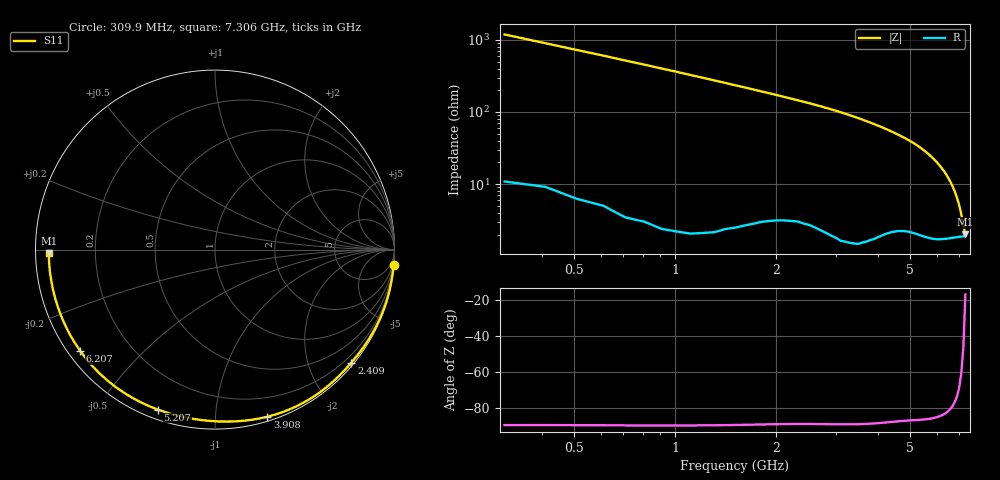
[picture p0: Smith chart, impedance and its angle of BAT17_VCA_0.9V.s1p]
! Infineon Technologies  Discrete & RF Semiconductors
! BAT17
! VCA = 0.9 V
! One-Port S-Parameters
# Hz  S  MA  R  50
!f  S11
!Hz  Mag  Ang
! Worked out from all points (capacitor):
!   71 points, 309.9 MHz to 7.306 GHz, reference 50 ohm
!   read as one part to ground: C = 432 fF near 309.9 MHz
!   lowest |Z| = 2.01 ohm at 7.306 GHz (marker M1)
!   S11 on the Smith chart (normalised r, x): 309.9 MHz: 0, -24; 2.409 GHz: 0.06, -2.77; 3.908 GHz: 0.03, -1.36; 5.207 GHz: 0.04, -0.70; 6.207 GHz: 0.03, -0.33; 7.306 GHz: 0.04, -0.01
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3.0985e8  0.9992 -4.8
8.096e8  0.9986 -12.6
1.2094e9  0.9977 -19.1
1.6092e9  0.9947 -25.7
2.10895e9  0.9891 -34.3
2.4088e9  0.9869 -39.7
2.70865e9  0.9865 -45.2
3.0085e9  0.9865 -51.3
3.2084e9  0.9862 -55.7
3.4083e9  0.9849 -60.3
3.6082e9  0.9822 -65.0
3.8081e9  0.978 -70.1
3.90805e9  0.9759 -72.6
4.10795e9  0.97 -77.9
4.30785e9  0.9636 -83.2
4.50775e9  0.9578 -88.8
4.70765e9  0.9528 -94.5
5.0075e9  0.948 -103.4
5.2074e9  0.9466 -109.6
5.4073e9  0.9458 -116.0
5.6072e9  0.945 -122.7
5.90705e9  0.9431 -132.8
6.2069e9  0.9397 -143.1
6.50675e9  0.9351 -153.1
6.70665e9  0.9322 -159.7
6.90655e9  0.93 -166.1
7.10645e9  0.9281 -172.5
7.30635e9  0.926 -178.7
